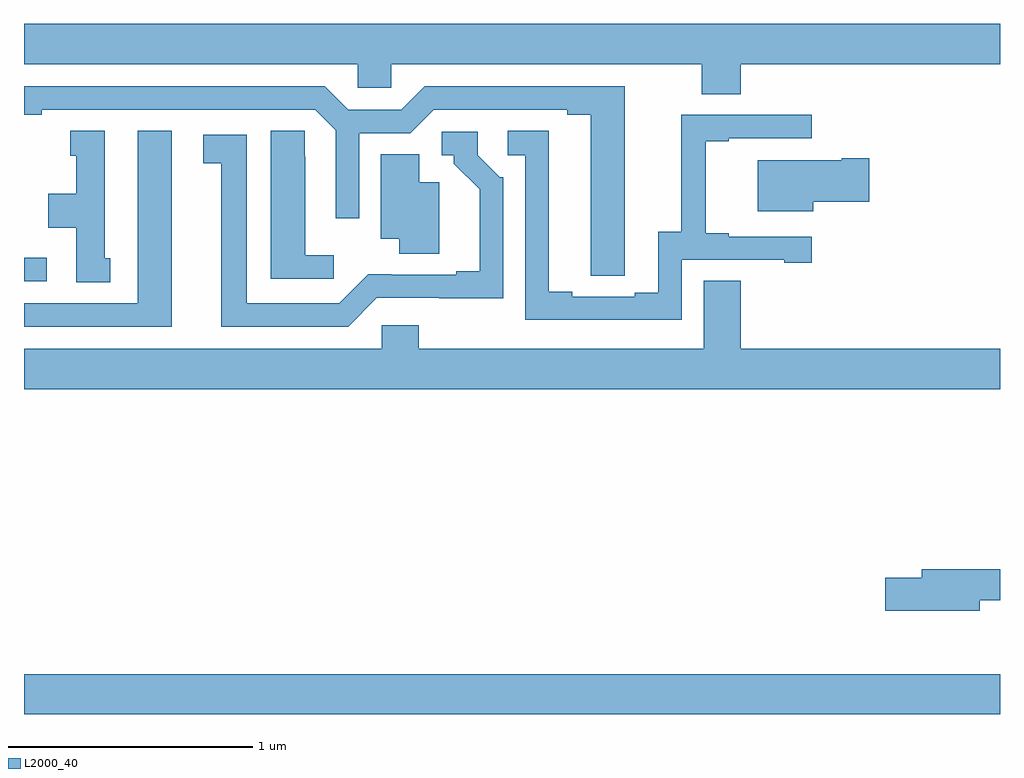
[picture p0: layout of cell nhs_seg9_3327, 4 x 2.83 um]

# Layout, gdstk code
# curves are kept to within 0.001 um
import gdstk
lib = gdstk.Library(unit=1e-6, precision=1e-09)
def R(c, l, rs):  # rectangles x0, y0, x1, y1
    for r in rs: c.add(gdstk.rectangle(r[:2], r[2:], *l))
def P(c, l, *ps):  # polygons
    for p in ps: c.add(gdstk.Polygon(p, *l))
L2000_40 = (2000, 40)

nhs_seg9_3327 = lib.new_cell('nhs_seg9_3327')
R(nhs_seg9_3327, L2000_40, [(301,1203.08,305,1203.244), (301,1204.854,301.093,1204.95)])
P(nhs_seg9_3327, L2000_40, [(303.938,1205.744),(305,1205.744),(305,1205.908),(301,1205.908),(301,1205.744),(302.367,1205.744),(302.367,1205.646),(302.505,1205.646),(302.505,1205.744),(303.778,1205.744),(303.778,1205.62),(303.938,1205.62)],
  [(303.462,1204.984),(303.463,1205.652),(302.643,1205.652),(302.547,1205.556),(302.329,1205.556),(302.233,1205.652),(301,1205.652),(301,1205.536),(301.072,1205.536),(301.072,1205.556),(302.193,1205.556),(302.277,1205.472),(302.277,1205.112),(302.373,1205.112),(302.373,1205.46),(302.583,1205.46),(302.679,1205.556),(303.227,1205.556),(303.227,1205.536),(303.323,1205.536),(303.323,1204.876),(303.462,1204.876)],
  [(303.696,1204.941),(304.115,1204.941),(304.115,1204.929),(304.228,1204.929),(304.228,1205.037),(303.889,1205.037),(303.889,1205.05),(303.794,1205.05),(303.794,1205.427),(303.889,1205.427),(303.889,1205.439),(304.228,1205.439),(304.228,1205.535),(303.694,1205.535),(303.694,1205.057),(303.599,1205.057),(303.599,1204.806),(303.503,1204.806),(303.503,1204.791),(303.247,1204.791),(303.247,1204.811),(303.151,1204.811),(303.151,1205.471),(302.982,1205.471),(302.982,1205.37),(303.054,1205.37),(303.054,1204.695),(303.696,1204.695)],
  [(302.269,1204.96),(302.152,1204.96),(302.152,1205.363),(302.151,1205.363),(302.151,1205.471),(302.012,1205.471),(302.012,1204.863),(302.269,1204.863)],
  [(301.606,1205.47),(301.466,1205.47),(301.466,1204.764),(301,1204.764),(301,1204.668),(301.606,1204.668)],
  [(301.354,1204.947),(301.33,1204.947),(301.33,1205.47),(301.19,1205.47),(301.19,1205.367),(301.214,1205.367),(301.214,1205.212),(301.1,1205.212),(301.1,1205.072),(301.214,1205.072),(301.214,1204.849),(301.354,1204.849)],
  [(302.445,1204.785),(302.964,1204.784),(302.964,1205.28),(302.949,1205.28),(302.859,1205.37),(302.859,1205.466),(302.712,1205.466),(302.712,1205.37),(302.762,1205.37),(302.762,1205.335),(302.867,1205.23),(302.867,1204.894),(302.771,1204.894),(302.771,1204.881),(302.41,1204.882),(302.292,1204.764),(301.912,1204.764),(301.912,1205.454),(301.734,1205.454),(301.734,1205.338),(301.808,1205.338),(301.808,1204.668),(302.328,1204.668)],
  [(302.701,1205.26),(302.62,1205.26),(302.62,1205.375),(302.462,1205.375),(302.462,1205.027),(302.537,1205.027),(302.537,1204.966),(302.701,1204.966)],
  [(304.234,1205.18),(304.465,1205.18),(304.465,1205.358),(304.352,1205.358),(304.352,1205.35),(304.007,1205.35),(304.007,1205.141),(304.234,1205.141)],
  [(305,1204.576),(303.938,1204.576),(303.938,1204.856),(303.785,1204.856),(303.785,1204.576),(302.618,1204.576),(302.618,1204.674),(302.466,1204.674),(302.466,1204.576),(301,1204.576),(301,1204.412),(305,1204.412)],
  [(304.918,1203.546),(305,1203.546),(305,1203.674),(304.679,1203.674),(304.679,1203.638),(304.53,1203.638),(304.53,1203.503),(304.918,1203.503)])

lib.write_gds('nhs_seg9_3327.gds')
